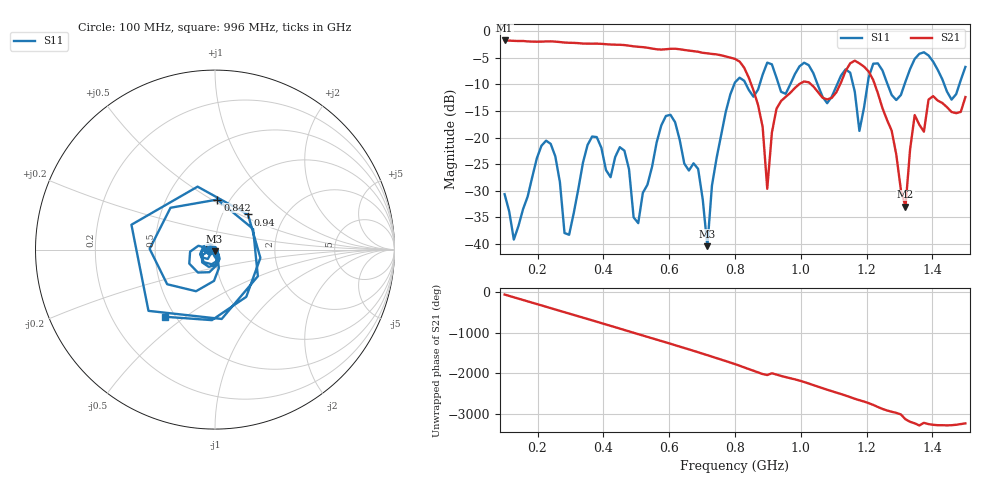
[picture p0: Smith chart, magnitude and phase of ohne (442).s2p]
! NanoVNA-App
! Date: 2025-09-25 14:24:14
! Start: 100MHz Stop: 1,5GHz Points: 101
! S-Parameter data: F S11 S21 S12 S22
# Hz S RI R 50
!  Frequency  S11_Real  S11_Imag  S21_Real  S21_Imag  S12_Real  S12_Imag  S22_Real  S22_Imag
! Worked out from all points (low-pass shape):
!   101 points, 100 MHz to 1.5 GHz, reference 50 ohm
!   highest |S21| = -1.79 dB at 100 MHz (marker M1); lowest = -33.0 dB at 1.318 GHz (marker M2)
!   |S21| within 3 dB of the highest: start of sweep to 772.2 MHz
!   lowest |S11| = -40.4 dB at 716 MHz (marker M3), VSWR 1.02, Z = 49.7 - j0.917 ohm
!   |S11| at or under -10 dB: start of sweep to 797.8 MHz; 833.2 MHz to 875.1 MHz (41.91 MHz wide, 4.91 % of centre); 1.051 GHz to 1.111 GHz (59.99 MHz wide, 5.55 % of centre) (the widest 3 of 7)
!   S12 and S22 are empty: the file has one direction only
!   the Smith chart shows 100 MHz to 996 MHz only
!   S11 on the Smith chart (normalised r, x): 100 MHz: 0.94, -0.01; 842 MHz: 0.88, +0.53; 940 MHz: 1.32, +0.56; 996 MHz: 0.44, -0.42
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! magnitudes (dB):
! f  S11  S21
! 100 MHz  -30.6  -1.8
! 128 MHz  -39.1  -1.9
! 226 MHz  -20.6  -2.0
! 296 MHz  -38.3  -2.2
! 338 MHz  -24.7  -2.4
! 464 MHz  -22.5  -2.7
! 506 MHz  -36.1  -3.0
! 576 MHz  -17.7  -3.5
! 688 MHz  -25.9  -3.9
! 716 MHz  -40.4  -4.2
! 800 MHz  -9.7  -5.2
! 842 MHz  -11.1  -8.8
! 898 MHz  -6.0  -29.6
! 940 MHz  -11.4  -13.1
! 996 MHz  -6.6  -9.9
! 1.038 GHz  -7.9  -10.4
! 1.164 GHz  -11.4  -5.6
! 1.178 GHz  -18.8  -6.1
! 1.276 GHz  -12.0  -18.7
! 1.318 GHz  -9.5  -33.0
! 1.346 GHz  -5.3  -15.8
! 1.5 GHz  -6.8  -12.4
